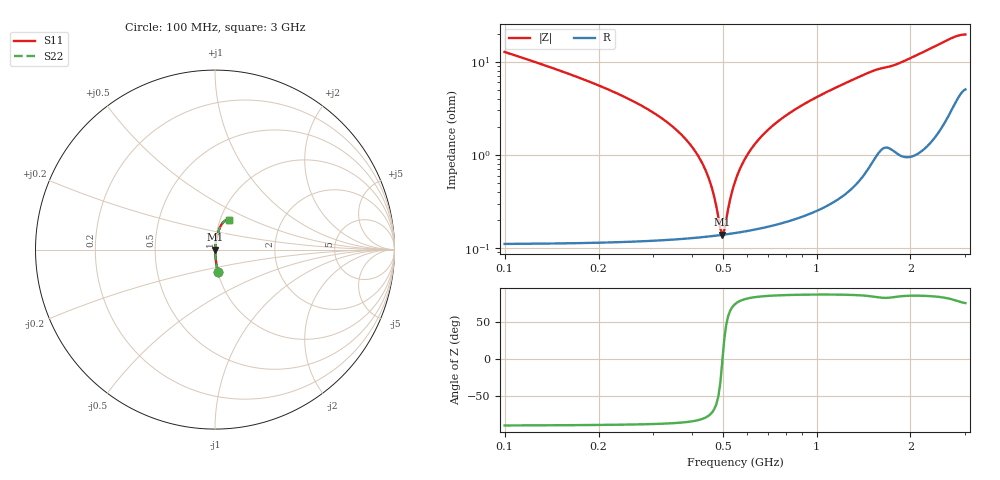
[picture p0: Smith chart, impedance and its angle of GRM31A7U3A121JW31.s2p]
!Murata Part Number: GRM31A7U3A121JW31
!These Parameters are Measured in Series Mode Connection
!Data Generated on Mar 30, 2021
!  o--ll--o
!Port1  Port2
!  o------o
!Operation Temp=25[degC], DC Bias Voltage=0[V]
!Freq. Start=100[MHz] Stop=3[GHz] 401[Steps]
# Hz S RI R 50
!Freq.(Hz) S11(Real) S11(Imag) S21(Real) S21(Imag) S12(Real) S12(Imag) S22(Real) S22(Imag)
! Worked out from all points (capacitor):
!   401 points, 100 MHz to 3 GHz, reference 50 ohm
!   read as one part in series: C = 120 pF near 114.5 MHz
!   lowest |Z| = 139 mohm at 498.8 MHz (marker M1)
!   series resonance near 499.6 MHz, so ESL is about 850 pH
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1e8  0.017 -0.1251  0.983 0.1251  0.983 0.1251  0.017 -0.1251
1.7975e8  0.00524 -0.0639  0.9948 0.0639  0.9948 0.0639  0.00524 -0.0639
3.2475e8  0.00177 -0.0236  0.9982 0.0236  0.9982 0.0236  0.00177 -0.0236
3.9e8  0.00145 -0.0133  0.9986 0.0133  0.9986 0.0133  0.00145 -0.0133
4.4075e8  0.00137 -0.0067  0.9986 0.0067  0.9986 0.0067  0.00137 -0.0067
4.625e8  0.00136 -0.00412  0.9986 0.00412  0.9986 0.00412  0.00136 -0.00412
4.8425e8  0.00137 -0.00167  0.9986 0.00167  0.9986 0.00167  0.00137 -0.00167
4.915e8  0.00138 -0.000873  0.9986 0.000873  0.9986 0.000873  0.00138 -0.000873
4.9875e8  0.00139 -8.99e-05  0.9986 8.99e-05  0.9986 8.99e-05  0.00139 -8.99e-05
5.06e8  0.0014 0.000682  0.9986 -0.000682  0.9986 -0.000682  0.0014 0.000682
5.1325e8  0.00141 0.00144  0.9986 -0.00144  0.9986 -0.00144  0.00141 0.00144
5.35e8  0.00145 0.00367  0.9986 -0.00367  0.9986 -0.00367  0.00145 0.00367
5.495e8  0.00148 0.00511  0.9985 -0.00511  0.9985 -0.00511  0.00148 0.00511
5.8575e8  0.00158 0.00857  0.9984 -0.00857  0.9984 -0.00857  0.00158 0.00857
6.51e8  0.00181 0.0144  0.9982 -0.0144  0.9982 -0.0144  0.00181 0.0144
7.525e8  0.00232 0.0228  0.9977 -0.0228  0.9977 -0.0228  0.00232 0.0228
8.9025e8  0.00325 0.0333  0.9967 -0.0333  0.9967 -0.0333  0.00325 0.0333
1.0715e9  0.00495 0.0464  0.995 -0.0464  0.995 -0.0464  0.00495 0.0464
1.55e9  0.0158 0.0792  0.9842 -0.0792  0.9842 -0.0792  0.0158 0.0792
2.03575e9  0.0217 0.1086  0.9783 -0.1086  0.9783 -0.1086  0.0217 0.1086
2.5215e9  0.0424 0.1487  0.9576 -0.1487  0.9576 -0.1487  0.0424 0.1487
3e9  0.0781 0.1665  0.9219 -0.1665  0.9219 -0.1665  0.0781 0.1665
